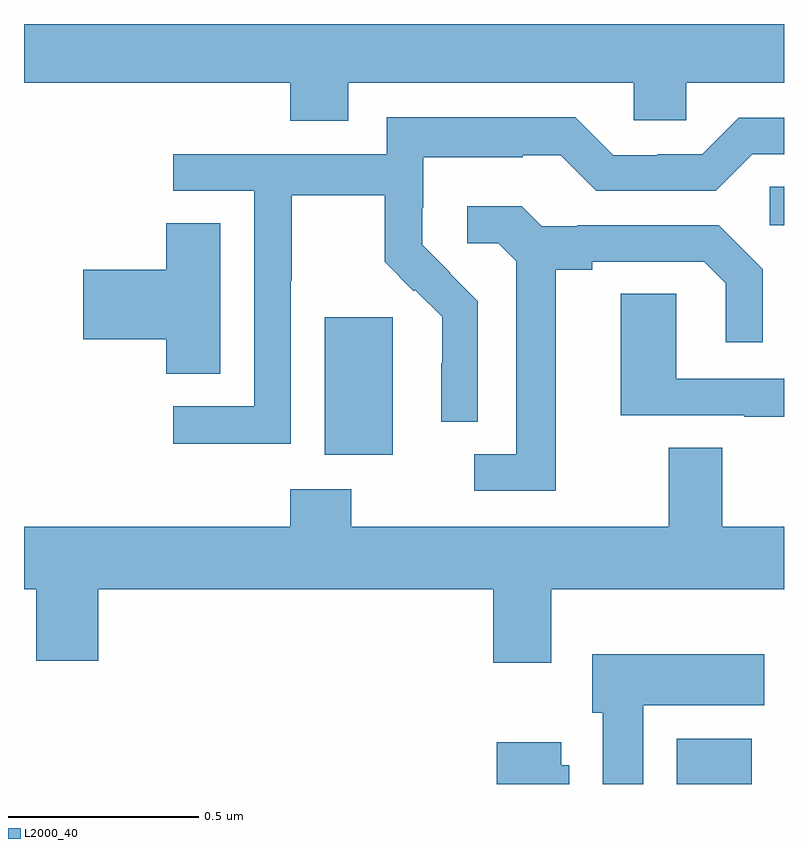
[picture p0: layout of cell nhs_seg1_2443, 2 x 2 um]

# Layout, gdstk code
import gdstk
lib = gdstk.Library(unit=1e-6, precision=1e-09)
def R(c, l, rs):  # rectangles x0, y0, x1, y1
    for r in rs: c.add(gdstk.rectangle(r[:2], r[2:], *l))
def P(c, l, *ps):  # polygons
    for p in ps: c.add(gdstk.Polygon(p, *l))
L2000_40 = (2000, 40)

nhs_seg1_2443 = lib.new_cell('nhs_seg1_2443')
R(nhs_seg1_2443, L2000_40, [(142.718,571.199,142.915,571.318), (141.791,572.066,141.97,572.427), (142.962,572.67,143,572.771)])
P(nhs_seg1_2443, L2000_40, [(141.853,573.044),(142.605,573.044),(142.605,572.946),(142.743,572.946),(142.743,573.044),(143,573.044),(143,573.199),(141,573.199),(141,573.044),(141.701,573.044),(141.701,572.945),(141.853,572.945)],
  [(141.702,572.524),(141.705,572.524),(141.705,572.748),(141.949,572.748),(141.949,572.573),(142.026,572.496),(142.029,572.499),(142.1,572.429),(142.1,572.306),(142.098,572.306),(142.098,572.152),(142.194,572.152),(142.194,572.47),(142.121,572.543),(142.122,572.544),(142.048,572.618),(142.048,572.715),(142.05,572.715),(142.05,572.849),(142.313,572.849),(142.313,572.853),(142.413,572.853),(142.506,572.76),(142.821,572.76),(142.917,572.856),(143,572.856),(143,572.952),(142.881,572.952),(142.785,572.856),(142.667,572.856),(142.667,572.853),(142.551,572.853),(142.451,572.953),(141.954,572.953),(141.954,572.856),(141.393,572.856),(141.393,572.76),(141.606,572.76),(141.606,572.193),(141.393,572.193),(141.393,572.095),(141.702,572.095)],
  [(142.399,572.552),(142.495,572.552),(142.495,572.574),(142.79,572.574),(142.847,572.517),(142.847,572.361),(142.944,572.361),(142.944,572.554),(142.828,572.67),(142.456,572.67),(142.456,572.667),(142.362,572.667),(142.31,572.719),(142.167,572.719),(142.167,572.622),(142.248,572.622),(142.295,572.575),(142.295,572.067),(142.185,572.067),(142.185,571.971),(142.399,571.971)],
  [(141.517,572.675),(141.374,572.675),(141.374,572.552),(141.156,572.552),(141.156,572.369),(141.374,572.369),(141.374,572.278),(141.517,572.278)],
  [(143,572.265),(142.716,572.265),(142.716,572.489),(142.571,572.489),(142.571,572.169),(142.895,572.169),(142.895,572.165),(143,572.165)],
  [(142.387,571.712),(143,571.712),(143,571.876),(142.837,571.876),(142.837,572.084),(142.697,572.084),(142.697,571.876),(141.861,571.876),(141.861,571.975),(141.701,571.975),(141.701,571.876),(141,571.876),(141,571.712),(141.032,571.712),(141.032,571.524),(141.196,571.524),(141.196,571.712),(142.235,571.712),(142.235,571.518),(142.387,571.518)],
  [(142.63,571.406),(142.948,571.406),(142.948,571.54),(142.496,571.54),(142.496,571.386),(142.523,571.386),(142.523,571.199),(142.63,571.199)],
  [(142.435,571.248),(142.414,571.248),(142.414,571.309),(142.244,571.309),(142.244,571.199),(142.435,571.199)])

lib.write_gds('nhs_seg1_2443.gds')
